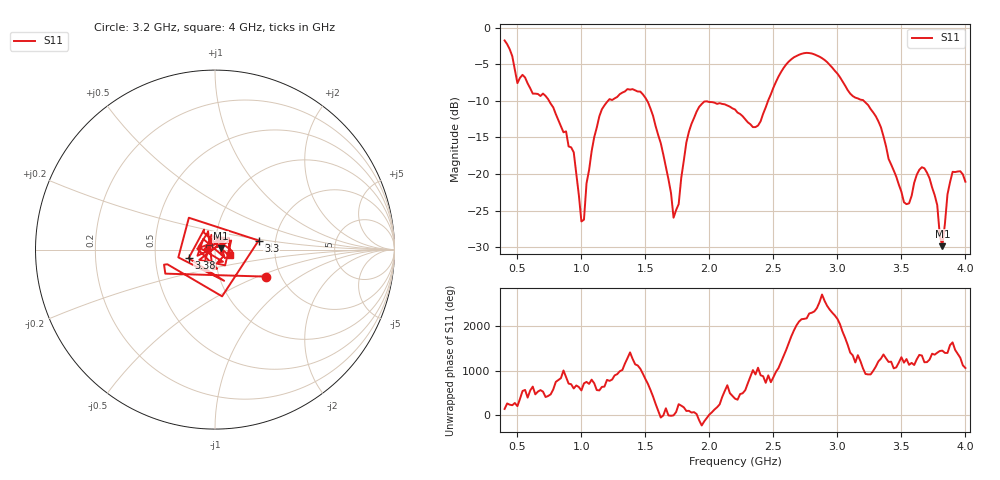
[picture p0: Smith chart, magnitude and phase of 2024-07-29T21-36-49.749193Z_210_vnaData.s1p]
!Created with skrf (http://scikit-rf.org).
# Hz S RI R 50.0
!freq ReS11 ImS11
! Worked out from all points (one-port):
!   181 points, 400 MHz to 4 GHz, reference 50 ohm
!   lowest |S11| = -29.9 dB at 3.82 GHz (marker M1), VSWR 1.07, Z = 53.2 + j0.77 ohm
!   |S11| at or under -10 dB: 747.4 MHz to 1.208 GHz (460.2 MHz wide, 47.1 % of centre); 1.514 GHz to 2.458 GHz (944.1 MHz wide, 47.5 % of centre); 3.206 GHz to end of sweep
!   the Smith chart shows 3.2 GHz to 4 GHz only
!   S11 on the Smith chart (normalised r, x): 3.2 GHz: 1.67, -0.56; 3.3 GHz: 1.63, +0.18; 3.38 GHz: 0.74, -0.07; 4 GHz: 1.18, -0.07
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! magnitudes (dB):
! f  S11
! 400 MHz  -1.7
! 500 MHz  -7.6
! 720 MHz  -9.3
! 860 MHz  -14.3
! 940 MHz  -17.0
! 1 GHz  -26.5
! 1.14 GHz  -12.1
! 1.3 GHz  -9.1
! 1.52 GHz  -10.2
! 1.64 GHz  -17.3
! 1.72 GHz  -26.0
! 1.76 GHz  -24.1
! 1.82 GHz  -15.7
! 1.92 GHz  -10.8
! 2.2 GHz  -11.2
! 2.38 GHz  -13.4
! 2.66 GHz  -4.1
! 2.88 GHz  -4.2
! 3.1 GHz  -9.0
! 3.2 GHz  -9.9
! 3.3 GHz  -12.1
! 3.38 GHz  -16.2
! 3.56 GHz  -24.0
! 3.68 GHz  -19.2
! 3.78 GHz  -24.2
! 3.82 GHz  -29.9
! 3.9 GHz  -19.7
! 4 GHz  -21.0
